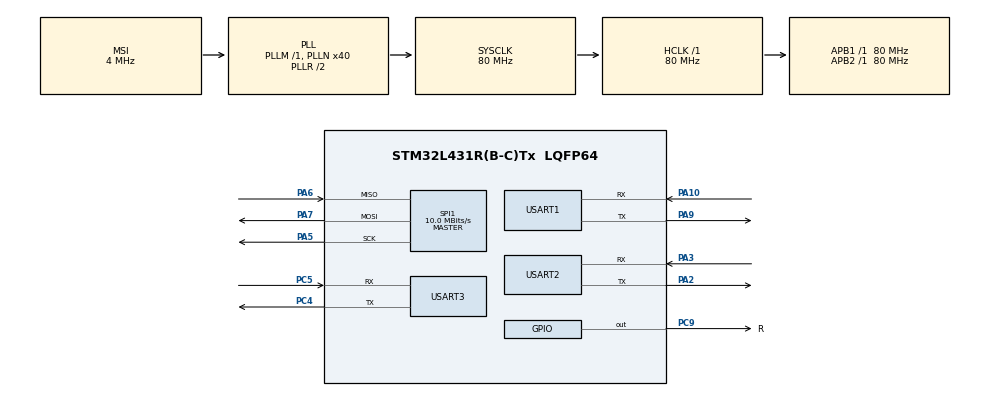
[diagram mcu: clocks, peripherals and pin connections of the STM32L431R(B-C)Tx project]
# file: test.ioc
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Dma.Request0=USART1_RX
Dma.USART1_RX.0.Direction=DMA_PERIPH_TO_MEMORY
Dma.USART1_RX.0.Instance=DMA1_Channel5
Dma.USART1_RX.0.MemDataAlignment=DMA_MDATAALIGN_BYTE
Dma.USART1_RX.0.MemInc=DMA_MINC_ENABLE
Dma.USART1_RX.0.Mode=DMA_NORMAL
Dma.USART1_RX.0.PeriphDataAlignment=DMA_PDATAALIGN_BYTE
Dma.USART1_RX.0.PeriphInc=DMA_PINC_DISABLE
Dma.USART1_RX.0.Priority=DMA_PRIORITY_LOW
Mcu.Family=STM32L4
Mcu.Name=STM32L431R(B-C)Tx
Mcu.Package=LQFP64
NVIC.DMA1_Channel5_IRQn=true\:0\:0\:false\:false\:true\:false\:true\:true
NVIC.PriorityGroup=NVIC_PRIORITYGROUP_4
NVIC.USART1_IRQn=true\:0\:0\:false\:false\:true\:true\:true\:true
NVIC.USART2_IRQn=true\:0\:0\:false\:false\:true\:true\:true\:true
PA10.Mode=Asynchronous
PA10.Signal=USART1_RX
PA13\ (JTMS-SWDIO).Mode=Serial_Wire
PA13\ (JTMS-SWDIO).Signal=SYS_JTMS-SWDIO
PA14\ (JTCK-SWCLK).Mode=Serial_Wire
PA14\ (JTCK-SWCLK).Signal=SYS_JTCK-SWCLK
PA2.Mode=Asynchronous
PA2.Signal=USART2_TX
PA3.Mode=Asynchronous
PA3.Signal=USART2_RX
PA5.Mode=Full_Duplex_Master
PA5.Signal=SPI1_SCK
PA6.Mode=Full_Duplex_Master
PA6.Signal=SPI1_MISO
PA7.Mode=Full_Duplex_Master
PA7.Signal=SPI1_MOSI
PA9.Mode=Asynchronous
PA9.Signal=USART1_TX
PC14-OSC32_IN\ (PC14).Mode=LSE-External-Oscillator
PC14-OSC32_IN\ (PC14).Signal=RCC_OSC32_IN
PC15-OSC32_OUT\ (PC15).Mode=LSE-External-Oscillator
PC15-OSC32_OUT\ (PC15).Signal=RCC_OSC32_OUT
PC4.Mode=Asynchronous
PC4.Signal=USART3_TX
PC5.Mode=Asynchronous
PC5.Signal=USART3_RX
PC9.GPIO_Label=R
PC9.PinState=GPIO_PIN_RESET
PC9.Signal=GPIO_Output
PH0-OSC_IN\ (PH0).Mode=HSE-External-Oscillator
PH0-OSC_IN\ (PH0).Signal=RCC_OSC_IN
PH1-OSC_OUT\ (PH1).Mode=HSE-External-Oscillator
PH1-OSC_OUT\ (PH1).Signal=RCC_OSC_OUT
ProjectManager.HeapSize=0x200
ProjectManager.StackSize=0x400
ProjectManager.TargetToolchain=MDK-ARM V5.32
RCC.AHBFreq_Value=80000000
RCC.APB1Freq_Value=80000000
RCC.APB1TimFreq_Value=80000000
RCC.APB2Freq_Value=80000000
RCC.APB2TimFreq_Value=80000000
RCC.CortexFreq_Value=80000000
RCC.HCLKFreq_Value=80000000
RCC.HSE_VALUE=8000000
RCC.HSI48_VALUE=48000000
RCC.HSI_VALUE=16000000
RCC.MSI_VALUE=4000000
RCC.PLLN=40
RCC.SYSCLKFreq_VALUE=80000000
RCC.SYSCLKSource=RCC_SYSCLKSOURCE_PLLCLK
RCC.VCOOutputFreq_Value=160000000
SPI1.BaudRatePrescaler=SPI_BAUDRATEPRESCALER_8
SPI1.CalculateBaudRate=10.0 MBits/s
SPI1.DataSize=SPI_DATASIZE_8BIT
SPI1.Direction=SPI_DIRECTION_2LINES
SPI1.Mode=SPI_MODE_MASTER
SPI1.VirtualType=VM_MASTER
USART1.VirtualMode-Asynchronous=VM_ASYNC
USART2.VirtualMode-Asynchronous=VM_ASYNC
USART3.VirtualMode-Asynchronous=VM_ASYNC
board=custom

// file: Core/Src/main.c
/* USER CODE BEGIN Header */
/**
  ******************************************************************************
  * @file           : main.c
  * @brief          : Main program body
  ******************************************************************************
  * @attention
  *
  * Copyright (c) 2026 STMicroelectronics.
  * All rights reserved.
  *
  * This software is licensed under terms that can be found in the LICENSE file
  * in the root directory of this software component.
  * If no LICENSE file comes with this software, it is provided AS-IS.
  *
  ******************************************************************************
  */
/* USER CODE END Header */
#include "main.h"
#include "dma.h"
#include "spi.h"
#include "usart.h"
#include "gpio.h"

/* USER CODE BEGIN Includes */

#include <string.h>
#include "stdio.h"
#include "global.h"
#include "w25qxx.h"
#include "eeprom_emul.h"
#include "ota_state_machine.h"
#include "cmox_crypto.h"
#include "log_config.h"
#include "thingsboard_ota.h"
#include "esp8266.h"
#include "net_cfg.h"
#include "core_mqtt.h"
#include "app_verify.h"
#include "flash_bootloader.h"
/* USER CODE END Includes */

/* USER CODE BEGIN PM */

#if LOG_MAIN_ENABLE
#define main_log(...) printf(__VA_ARGS__)
#else
#define main_log(...) ((void)0)
#endif

#if LOG_MAIN_TRACE_ENABLE
#define main_trace(...) printf(__VA_ARGS__)
#else
#define main_trace(...) ((void)0)
#endif

/* USER CODE END PM */

void SystemClock_Config(void);
/* USER CODE BEGIN PFP */
static uint8_t spinor_lfs_mount(lfs_ctx_t *fs);
#if 0
static void    wifi_mqtt_smoke_test(void);
#endif

/* USER CODE END PFP */

/* USER CODE BEGIN 0 */

lfs_ctx_t lfs_ctx;

extern const struct lfs_config      my_lfs_config;
extern const struct lfs_file_config lfs_file_cfg;
extern spinor_info_t                spinor;

static uint8_t spinor_lfs_mount(lfs_ctx_t *fs)
{
    if (fs == NULL)
    {
        return 1;
    }

    if (spinor_init(&spinor) < 0)
    {
        return 1;
    }

    int mount_err = lfs_mount(&fs->lfs, &my_lfs_config);
    main_trace("lfs_mount: %d\r\n", mount_err);

    if (mount_err)
    {
        lfs_format(&fs->lfs, &my_lfs_config);
        mount_err = lfs_mount(&fs->lfs, &my_lfs_config);
        main_log("LittleFS formatted and mounted, err: %d\r\n", mount_err);
    }

    if (mount_err != 0)
    {
        return 1;
    }

    fs->mounted   = 1;
    fs->file_open = 0;

    return 0;
}

#if 0
static const char s_mqtt_firmware_path[] = "mqtt_fw.tmp";

static int mqtt_json_get_u32(const uint8_t *json,
                             uint16_t       json_len,
                             const char    *key,
                             uint32_t      *value)
{
    char     pattern[32];
    uint32_t parsed_value;
    uint16_t cursor;
    uint16_t digit_start;
    uint16_t pattern_len;
    uint16_t start;
    int      pattern_bytes;

    if (json == NULL || key == NULL || value == NULL || json_len == 0U)
    {
        return -1;
    }

    pattern_bytes = snprintf(pattern, sizeof(pattern), "\"%s\":", key);
    if (pattern_bytes <= 0 || pattern_bytes >= (int)sizeof(pattern))
    {
        return -2;
    }

    pattern_len = (uint16_t)pattern_bytes;
    for (start = 0U; start + pattern_len <= json_len; start++)
    {
        if (memcmp(&json[start], pattern, pattern_len) != 0)
        {
            continue;
        }

        cursor = (uint16_t)(start + pattern_len);
        while (cursor < json_len && (json[cursor] == ' ' || json[cursor] == '\t'))
        {
            cursor++;
        }

        parsed_value = 0U;
        digit_start  = cursor;
        while (cursor < json_len && json[cursor] >= '0' && json[cursor] <= '9')
        {
            uint32_t digit = (uint32_t)(json[cursor] - '0');

            if (parsed_value > (UINT32_MAX - digit) / 10U)
            {
                return -3;
            }

            parsed_value = parsed_value * 10U + digit;
            cursor++;
        }

        if (cursor == digit_start)
        {
            return -4;
        }

        *value = parsed_value;
        return 0;
    }

    return -5;
}

static int mqtt_json_get_string(const uint8_t *json,
                                uint16_t       json_len,
                                const char    *key,
                                char          *value,
                                uint16_t       value_size)
{
    char     pattern[32];
    uint16_t cursor;
    uint16_t pattern_len;
    uint16_t start;
    uint16_t value_len;
    int      pattern_bytes;

    if (json == NULL || key == NULL || value == NULL || value_size == 0U || json_len == 0U)
    {
        return -1;
    }

    pattern_bytes = snprintf(pattern, sizeof(pattern), "\"%s\":", key);
    if (pattern_bytes <= 0 || pattern_bytes >= (int)sizeof(pattern))
    {
        return -2;
    }

    pattern_len = (uint16_t)pattern_bytes;
    for (start = 0U; start + pattern_len <= json_len; start++)
    {
        if (memcmp(&json[start], pattern, pattern_len) != 0)
        {
            continue;
        }

        cursor = (uint16_t)(start + pattern_len);
        while (cursor < json_len && (json[cursor] == ' ' || json[cursor] == '\t'))
        {
            cursor++;
        }

        if (cursor >= json_len || json[cursor] != '"')
        {
            return -3;
        }

        cursor++;
        value_len = 0U;
        while (cursor < json_len && json[cursor] != '"')
        {
            if (value_len + 1U >= value_size)
            {
                value[0] = '\0';
                return -4;
            }

            value[value_len++] = (char)json[cursor++];
        }

        if (cursor >= json_len)
        {
            value[0] = '\0';
            return -5;
        }

        value[value_len] = '\0';
        return 0;
    }

    value[0] = '\0';
    return -6;
}

static int mqtt_wait_topic_message(const char   *expected_topic,
                                   mqtt_rx_msg_t *message,
                                   uint32_t       timeout_ms)
{
    uint32_t start_tick;
    int      rv;

    if (expected_topic == NULL || message == NULL || timeout_ms == 0U)
    {
        return -1;
    }

    start_tick = HAL_GetTick();
    while (1)
    {
        while (mqtt_message_pop(message) > 0)
        {
            if (strcmp(message->topic, expected_topic) == 0)
            {
                return 1;
            }

            main_log("WiFi MQTT test: ignore unrelated topic=[%s]\r\n", message->topic);
        }

        if ((HAL_GetTick() - start_tick) >= timeout_ms)
        {
            return 0;
        }

        rv = mqtt_poll_once();
        if (rv < 0)
        {
            return -2;
        }

        if (rv == 0)
        {
            HAL_Delay(1U);
        }
    }
}

static int mqtt_download_firmware_to_lfs(lfs_ctx_t    *fs,
                                          mqtt_rx_msg_t *message,
                                          uint32_t       firmware_size)
{
    static const char firmware_chunk_filter[] = "v2/fw/response/+/chunk/+";
    static const char firmware_chunk_size[]   = "512";
    static char       request_topic[64];
    static char       response_topic[64];
    lfs_soff_t        file_size;
    lfs_ssize_t       written;
    uint32_t          chunk_index;
    uint32_t          expected_chunk_len;
    uint32_t          request_id;
    uint32_t          total_written;
    uint16_t          preview_index;
    uint16_t          preview_len;
    int               err;
    int               request_topic_len;
    int               response_topic_len;
    int               rv;

    if (fs == NULL || message == NULL || fs->mounted == 0U || firmware_size == 0U)
    {
        return -1;
    }

    if (fs->file_open != 0U)
    {
        err = lfs_file_close(&fs->lfs, &fs->file);
        fs->file_open = 0U;
        if (err != 0)
        {
            main_log("WiFi MQTT test: close stale LFS file failed, err=%d\r\n", err);
            return -2;
        }
    }

    err = lfs_remove(&fs->lfs, s_mqtt_firmware_path);
    if (err != 0 && err != LFS_ERR_NOENT)
    {
        main_log("WiFi MQTT test: remove stale %s failed, err=%d\r\n",
                 s_mqtt_firmware_path,
                 err);
        return -2;
    }

    err = lfs_file_opencfg(&fs->lfs,
                           &fs->file,
                           s_mqtt_firmware_path,
                           LFS_O_WRONLY | LFS_O_CREAT | LFS_O_TRUNC,
                           &lfs_file_cfg);
    if (err != 0)
    {
        main_log("WiFi MQTT test: open %s failed, err=%d\r\n", s_mqtt_firmware_path, err);
        return -3;
    }
    fs->file_open = 1U;

    rv = mqtt_subscribe_topic((char *)firmware_chunk_filter, Qos1, 2);
    if (rv != 0)
    {
        main_log("WiFi MQTT test: subscribe firmware chunk failed, rv=%d\r\n", rv);
        rv = -4;
        goto DownloadFailed;
    }

    main_log("WiFi MQTT test: subscribe firmware chunk ok\r\n");
    total_written = 0U;
    chunk_index   = 0U;
    request_id    = 2U;

    while (total_written < firmware_size)
    {
        expected_chunk_len = firmware_size - total_written;
        if (expected_chunk_len > MQTT_RX_PAYLOAD_MAX)
        {
            expected_chunk_len = MQTT_RX_PAYLOAD_MAX;
        }

        request_topic_len = snprintf(request_topic,
                                     sizeof(request_topic),
                                     "v2/fw/request/%lu/chunk/%lu",
                                     (unsigned long)request_id,
                                     (unsigned long)chunk_index);
        response_topic_len = snprintf(response_topic,
                                      sizeof(response_topic),
                                      "v2/fw/response/%lu/chunk/%lu",
                                      (unsigned long)request_id,
                                      (unsigned long)chunk_index);
        if (request_topic_len <= 0 || request_topic_len >= (int)sizeof(request_topic) ||
            response_topic_len <= 0 || response_topic_len >= (int)sizeof(response_topic))
        {
            rv = -5;
            goto DownloadFailed;
        }

        rv = mqtt_publish(request_topic, Qos1, (char *)firmware_chunk_size);
        if (rv != 0)
        {
            main_log("WiFi MQTT test: chunk %lu request failed, rv=%d\r\n",
                     (unsigned long)chunk_index,
                     rv);
            rv = -6;
            goto DownloadFailed;
        }

        rv = mqtt_wait_topic_message(response_topic, message, 5000U);
        if (rv <= 0)
        {
            main_log("WiFi MQTT test: chunk %lu response failed, rv=%d\r\n",
                     (unsigned long)chunk_index,
                     rv);
            rv = -7;
            goto DownloadFailed;
        }

        if (message->payload_len != (uint16_t)expected_chunk_len)
        {
            main_log("WiFi MQTT test: chunk %lu length mismatch, expected=%lu actual=%u\r\n",
                     (unsigned long)chunk_index,
                     (unsigned long)expected_chunk_len,
                     (unsigned int)message->payload_len);
            rv = -8;
            goto DownloadFailed;
        }

        if (chunk_index == 0U)
        {
            main_log("WiFi MQTT test: chunk 0 first 16 bytes:");
            preview_len = (message->payload_len < 16U) ? message->payload_len : 16U;
            for (preview_index = 0U; preview_index < preview_len; preview_index++)
            {
                main_log(" %02X", (unsigned int)message->payload[preview_index]);
            }
            main_log("\r\n");
        }

        written = lfs_file_write(&fs->lfs, &fs->file, message->payload, message->payload_len);
        if (written < 0 || (uint16_t)written != message->payload_len)
        {
            main_log("WiFi MQTT test: LFS write chunk %lu failed, ret=%d\r\n",
                     (unsigned long)chunk_index,
                     (int)written);
            rv = -9;
            goto DownloadFailed;
        }

        total_written += message->payload_len;
        main_log("WiFi MQTT test: download progress %lu/%lu, chunk=%lu bytes=%u\r\n",
                 (unsigned long)total_written,
                 (unsigned long)firmware_size,
                 (unsigned long)chunk_index,
                 (unsigned int)message->payload_len);
        chunk_index++;
        request_id++;
    }

    err = lfs_file_sync(&fs->lfs, &fs->file);
    if (err != 0)
    {
        main_log("WiFi MQTT test: LFS sync %s failed, err=%d\r\n",
                 s_mqtt_firmware_path,
                 err);
        rv = -10;
        goto DownloadFailed;
    }

    file_size = lfs_file_size(&fs->lfs, &fs->file);
    if (file_size < 0 || (uint32_t)file_size != firmware_size)
    {
        main_log("WiFi MQTT test: LFS file size mismatch, expected=%lu actual=%ld\r\n",
                 (unsigned long)firmware_size,
                 (long)file_size);
        rv = -11;
        goto DownloadFailed;
    }

    err           = lfs_file_close(&fs->lfs, &fs->file);
    fs->file_open = 0U;
    if (err != 0)
    {
        int remove_err;

        main_log("WiFi MQTT test: LFS close %s failed, err=%d\r\n",
                 s_mqtt_firmware_path,
                 err);
        remove_err = lfs_remove(&fs->lfs, s_mqtt_firmware_path);
        if (remove_err != 0 && remove_err != LFS_ERR_NOENT)
        {
            main_log("WiFi MQTT test: cleanup remove %s failed, err=%d\r\n",
                      s_mqtt_firmware_path,
                     remove_err);
        }
        return -12;
    }

    main_log("WiFi MQTT test: firmware saved to %s, bytes=%lu, chunks=%lu\r\n",
              s_mqtt_firmware_path,
             (unsigned long)total_written,
             (unsigned long)chunk_index);
    return 0;

DownloadFailed:
    if (fs->file_open != 0U)
    {
        err = lfs_file_close(&fs->lfs, &fs->file);
        fs->file_open = 0U;
        if (err != 0)
        {
            main_log("WiFi MQTT test: cleanup close %s failed, err=%d\r\n",
                     s_mqtt_firmware_path,
                     err);
        }
    }
    err = lfs_remove(&fs->lfs, s_mqtt_firmware_path);
    if (err != 0 && err != LFS_ERR_NOENT)
    {
        main_log("WiFi MQTT test: cleanup remove %s failed, err=%d\r\n",
                 s_mqtt_firmware_path,
                 err);
    }
    return rv;
}

static void wifi_mqtt_smoke_test(void)
{
    const net_cfg_t *cfg;
    static const char firmware_response_filter[] = "v1/devices/me/attributes/response/+";
    static const char firmware_response_topic[]  = "v1/devices/me/attributes/response/1";
    static const char firmware_request_topic[]   = "v1/devices/me/attributes/request/1";
    static const char firmware_request_payload[] =
        "{\"sharedKeys\":\"fw_title,fw_version,fw_size,fw_checksum,fw_checksum_algorithm\"}";
    static char          ip[32];
    static char          gateway[32];
    static char          client_id[64];
    static char          firmware_checksum[65];
    static char          checksum_algorithm[16];
    static char          calculated_checksum[65];
    static mqtt_rx_msg_t rx_message;
    uint32_t             firmware_size;
    uint32_t             active_slot;
    uint32_t             target_addr;
    uint32_t             target_slot;
    bootloader_load_status_t load_status;
    firmware_verify_status_t verify_status;
    int                  rv;

    cfg = net_cfg_get();
    if (net_cfg_is_valid(cfg) == 0)
    {
        main_log("WiFi MQTT test: network config invalid\r\n");
        return;
    }

    if (esp8266_module_init() != 0)
    {
        main_log("WiFi MQTT test: ESP8266 init failed\r\n");
        return;
    }

    if (esp8266_scan_ap((char *)cfg->wifi_ssid) != 0)
    {
        main_log("WiFi MQTT test: AP [%s] not found\r\n", cfg->wifi_ssid);
        return;
    }

    if (esp8266_join_network((char *)cfg->wifi_ssid, (char *)cfg->wifi_password) != 0)
    {
        main_log("WiFi MQTT test: join AP failed\r\n");
        return;
    }

    if (esp8266_get_ipaddr(ip, gateway, (int)sizeof(ip)) != 0)
    {
        main_log("WiFi MQTT test: get IP failed\r\n");
        goto ExitWiFi;
    }

    main_log("WiFi MQTT test: ip=%s gateway=%s\r\n", ip, gateway);

    if (esp8266_ping_test((char *)cfg->mqtt_host) != 0)
    {
        main_log("WiFi MQTT test: ping host [%s] failed\r\n", cfg->mqtt_host);
        goto ExitWiFi;
    }

    memset(client_id, 0, sizeof(client_id));
    snprintf(client_id,
             sizeof(client_id),
             "stm32_ota_%08lX%08lX%08lX_%lu",
             (unsigned long)HAL_GetUIDw0(),
             (unsigned long)HAL_GetUIDw1(),
             (unsigned long)HAL_GetUIDw2(),
             (unsigned long)HAL_GetTick());

    rv = mqtt_connect(
        (char *)cfg->mqtt_host, (int)cfg->mqtt_port, client_id, (char *)cfg->access_token, "");
    if (rv != 0)
    {
        main_log("WiFi MQTT test: mqtt_connect [%s:%u] failed, rv=%d\r\n",
                 cfg->mqtt_host,
                 (unsigned int)cfg->mqtt_port,
                 rv);
        goto ExitWiFi;
    }

    main_log("WiFi MQTT test: mqtt_connect [%s:%u] ok\r\n",
             cfg->mqtt_host,
             (unsigned int)cfg->mqtt_port);

    rv = mqtt_subscribe_topic((char *)firmware_response_filter, Qos1, 1);
    if (rv != 0)
    {
        main_log("WiFi MQTT test: subscribe firmware response failed, rv=%d\r\n", rv);
        goto ExitMqtt;
    }

    main_log("WiFi MQTT test: subscribe firmware response ok\r\n");

    rv = mqtt_publish(
        (char *)firmware_request_topic, Qos1, (char *)firmware_request_payload);
    if (rv != 0)
    {
        main_log("WiFi MQTT test: firmware attributes request failed, rv=%d\r\n", rv);
        goto ExitMqtt;
    }

    main_log("WiFi MQTT test: firmware attributes request published\r\n");
    rv = mqtt_wait_topic_message(firmware_response_topic, &rx_message, 5000U);
    if (rv <= 0)
    {
        main_log("WiFi MQTT test: firmware attributes response failed, rv=%d\r\n", rv);
        goto ExitMqtt;
    }

    main_log("WiFi MQTT test: firmware attributes received, qos=%u, bytes=%u\r\n",
             (unsigned int)rx_message.qos,
             (unsigned int)rx_message.payload_len);
    main_log("WiFi MQTT test: firmware attributes=%.*s\r\n",
             (int)rx_message.payload_len,
             (char *)rx_message.payload);

    rv = mqtt_json_get_u32(
        rx_message.payload, rx_message.payload_len, "fw_size", &firmware_size);
    if (rv != 0 || firmware_size == 0U)
    {
        main_log("WiFi MQTT test: parse fw_size failed, rv=%d\r\n", rv);
        goto ExitMqtt;
    }

    memset(firmware_checksum, 0, sizeof(firmware_checksum));
    memset(checksum_algorithm, 0, sizeof(checksum_algorithm));

    rv = mqtt_json_get_string(rx_message.payload,
                              rx_message.payload_len,
                              "fw_checksum",
                              firmware_checksum,
                              sizeof(firmware_checksum));
    if (rv != 0)
    {
        main_log("WiFi MQTT test: parse fw_checksum failed, rv=%d\r\n", rv);
        goto ExitMqtt;
    }

    rv = mqtt_json_get_string(rx_message.payload,
                              rx_message.payload_len,
                              "fw_checksum_algorithm",
                              checksum_algorithm,
                              sizeof(checksum_algorithm));
    if (rv != 0 || strcmp(checksum_algorithm, "SHA256") != 0)
    {
        main_log("WiFi MQTT test: unsupported checksum algorithm [%s], rv=%d\r\n",
                 checksum_algorithm,
                 rv);
        goto ExitMqtt;
    }

    main_log("WiFi MQTT test: firmware download begin, size=%lu\r\n",
             (unsigned long)firmware_size);
    rv = mqtt_download_firmware_to_lfs(&lfs_ctx, &rx_message, firmware_size);
    if (rv != 0)
    {
        main_log("WiFi MQTT test: firmware download failed, rv=%d\r\n", rv);
        goto ExitMqtt;
    }

    memset(calculated_checksum, 0, sizeof(calculated_checksum));
    main_log("WiFi MQTT test: SHA256 verify begin, file=%s bytes=%lu\r\n",
             s_mqtt_firmware_path,
             (unsigned long)firmware_size);
    verify_status = verify_lfs_file_sha256(&lfs_ctx,
                                           s_mqtt_firmware_path,
                                           firmware_checksum,
                                           firmware_size,
                                           calculated_checksum,
                                           sizeof(calculated_checksum));
    if (verify_status != FIRMWARE_VERIFY_OK)
    {
        int remove_err;

        main_log("WiFi MQTT test: SHA256 verify failed, ret=%d\r\n", verify_status);
        main_log("WiFi MQTT test: SHA256 expected=%s\r\n", firmware_checksum);
        if (calculated_checksum[0] != '\0')
        {
            main_log("WiFi MQTT test: SHA256 actual  =%s\r\n", calculated_checksum);
        }

        remove_err = lfs_remove(&lfs_ctx.lfs, s_mqtt_firmware_path);
        if (remove_err != 0 && remove_err != LFS_ERR_NOENT)
        {
            main_log("WiFi MQTT test: remove invalid %s failed, err=%d\r\n",
                     s_mqtt_firmware_path,
                     remove_err);
        }
        goto ExitMqtt;
    }

    main_log("WiFi MQTT test: SHA256 verify ok, checksum=%s\r\n", calculated_checksum);

    main_log("WiFi MQTT test: firmware package verify begin, file=%s\r\n",
             s_mqtt_firmware_path);
    verify_status = verify_firmware(s_mqtt_firmware_path);
    if (verify_status != FIRMWARE_VERIFY_OK)
    {
        int remove_err;

        main_log("WiFi MQTT test: firmware package verify failed, ret=%d\r\n", verify_status);
        remove_err = lfs_remove(&lfs_ctx.lfs, s_mqtt_firmware_path);
        if (remove_err != 0 && remove_err != LFS_ERR_NOENT)
        {
            main_log("WiFi MQTT test: remove invalid %s failed, err=%d\r\n",
                     s_mqtt_firmware_path,
                     remove_err);
        }
        goto ExitMqtt;
    }

    main_log("WiFi MQTT test: firmware package verify ok\r\n");

    active_slot = Read_Flag(EE_VAR_ACTIVE_SLOT);
    if (active_slot != SLOT_A && active_slot != SLOT_B)
    {
        main_log("WiFi MQTT test: active slot flag invalid [%lu], use slot A for test\r\n",
                 (unsigned long)active_slot);
        active_slot = SLOT_A;
    }

    target_slot = OPPOSITE_SLOT(active_slot);
    target_addr = (target_slot == SLOT_B) ? APP_B_START_ADDR : APP_A_START_ADDR;
    main_log("WiFi MQTT test: target load begin, active=%s target=%s addr=0x%08lX\r\n",
             SLOT_NAME(active_slot),
             SLOT_NAME(target_slot),
             (unsigned long)target_addr);

    load_status = bootloader_load_target((uint8_t)target_slot, s_mqtt_firmware_path);
    if (load_status != BOOTLOADER_LOAD_OK)
    {
        main_log("WiFi MQTT test: target load failed, ret=%d\r\n", load_status);
        goto ExitMqtt;
    }

    if (Verify_APP_Integrity_Flash(target_addr) == 0)
    {
        main_log("WiFi MQTT test: target slot %s integrity verify failed\r\n",
                 SLOT_NAME(target_slot));
        goto ExitMqtt;
    }

    main_log("WiFi MQTT test: target slot %s load and integrity verify ok\r\n",
             SLOT_NAME(target_slot));
    main_log("WiFi MQTT test: target slot not committed, disconnect network before temporary jump\r\n");

    mqtt_disconnect();
    esp8266_wifi_disconnect();

    main_log("WiFi MQTT test: temporary jump to slot %s @ 0x%08lX\r\n",
             SLOT_NAME(target_slot),
             (unsigned long)target_addr);
    if (Jump_To_App_Flash(&lfs_ctx, target_addr) == 0)
    {
        main_log("WiFi MQTT test: temporary jump failed\r\n");
    }
    return;

ExitMqtt:
    mqtt_disconnect();

ExitWiFi:
    esp8266_wifi_disconnect();
}
#endif
/* USER CODE END 0 */

int main(void)
{

    /* MCU Configuration--------------------------------------------------------*/

    /* Reset of all peripherals, Initializes the Flash interface and the Systick. */
    HAL_Init();

    /* Configure the system clock */
    SystemClock_Config();

    /* Initialize all configured peripherals */
    MX_GPIO_Init();
    MX_DMA_Init();
    MX_USART1_UART_Init();
    MX_SPI1_Init();
    MX_USART3_UART_Init();
    MX_USART2_UART_Init();
    /* USER CODE BEGIN 2 */

    EE_Init();
    cmox_initialize(NULL);

    memset(&lfs_ctx, 0, sizeof(lfs_ctx_t));
    if (spinor_lfs_mount(&lfs_ctx) != 0U)
    {
        main_log("LittleFS mount failed\r\n");
        Error_Handler();
    }

    {
        ota_ctx_t      ctx;
        transfer_cfg_t transfer_cfg;

        thingsboard_ota_bind_transport(&ctx, &transfer_cfg, &lfs_ctx);

        main_log("Starting ThingsBoard OTA state machine...\r\n");
        ota_run(&ctx);
    }
    /* USER CODE END 2 */

    /* Infinite loop */
    while (1)
    {

        /* USER CODE BEGIN 3 */
        HAL_Delay(10U);
    }
    /* USER CODE END 3 */
}

void SystemClock_Config(void)
{
    RCC_OscInitTypeDef RCC_OscInitStruct = {0};
    RCC_ClkInitTypeDef RCC_ClkInitStruct = {0};

    /** Configure the main internal regulator output voltage
  */
    if (HAL_PWREx_ControlVoltageScaling(PWR_REGULATOR_VOLTAGE_SCALE1) != HAL_OK)
    {
        Error_Handler();
    }

    /** Configure LSE Drive Capability
  */
    HAL_PWR_EnableBkUpAccess();
    __HAL_RCC_LSEDRIVE_CONFIG(RCC_LSEDRIVE_LOW);

    /** Initializes the RCC Oscillators according to the specified parameters
  * in the RCC_OscInitTypeDef structure.
  */
    RCC_OscInitStruct.OscillatorType      = RCC_OSCILLATORTYPE_LSE | RCC_OSCILLATORTYPE_MSI;
    RCC_OscInitStruct.LSEState            = RCC_LSE_ON;
    RCC_OscInitStruct.MSIState            = RCC_MSI_ON;
    RCC_OscInitStruct.MSICalibrationValue = 0;
    RCC_OscInitStruct.MSIClockRange       = RCC_MSIRANGE_6;
    RCC_OscInitStruct.PLL.PLLState        = RCC_PLL_ON;
    RCC_OscInitStruct.PLL.PLLSource       = RCC_PLLSOURCE_MSI;
    RCC_OscInitStruct.PLL.PLLM            = 1;
    RCC_OscInitStruct.PLL.PLLN            = 40;
    RCC_OscInitStruct.PLL.PLLP            = RCC_PLLP_DIV7;
    RCC_OscInitStruct.PLL.PLLQ            = RCC_PLLQ_DIV2;
    RCC_OscInitStruct.PLL.PLLR            = RCC_PLLR_DIV2;
    if (HAL_RCC_OscConfig(&RCC_OscInitStruct) != HAL_OK)
    {
        Error_Handler();
    }

    /** Initializes the CPU, AHB and APB buses clocks
  */
    RCC_ClkInitStruct.ClockType =
        RCC_CLOCKTYPE_HCLK | RCC_CLOCKTYPE_SYSCLK | RCC_CLOCKTYPE_PCLK1 | RCC_CLOCKTYPE_PCLK2;
    RCC_ClkInitStruct.SYSCLKSource   = RCC_SYSCLKSOURCE_PLLCLK;
    RCC_ClkInitStruct.AHBCLKDivider  = RCC_SYSCLK_DIV1;
    RCC_ClkInitStruct.APB1CLKDivider = RCC_HCLK_DIV1;
    RCC_ClkInitStruct.APB2CLKDivider = RCC_HCLK_DIV1;

    if (HAL_RCC_ClockConfig(&RCC_ClkInitStruct, FLASH_LATENCY_4) != HAL_OK)
    {
        Error_Handler();
    }

    /** Enable MSI Auto calibration
  */
    HAL_RCCEx_EnableMSIPLLMode();
}

void Error_Handler(void)
{
    __disable_irq();
    while (1)
    {
    }
}
#ifdef USE_FULL_ASSERT
/**
  * @brief  Reports the name of the source file and the source line number
  *         where the assert_param error has occurred.
  * @param  file: pointer to the source file name
  * @param  line: assert_param error line source number
  * @retval None
  */
void assert_failed(uint8_t *file, uint32_t line)
{
    /* USER CODE BEGIN 6 */
    /* User can add his own implementation to report the file name and line number,
     ex: dbg_printf("Wrong parameters value: file %s on line %d\r\n", file, line) */
    /* USER CODE END 6 */
}
#endif /* USE_FULL_ASSERT */
